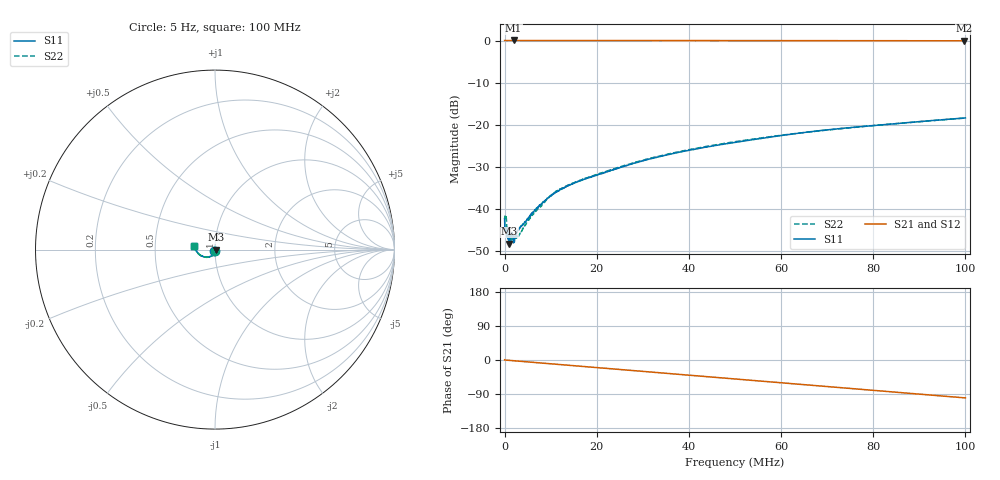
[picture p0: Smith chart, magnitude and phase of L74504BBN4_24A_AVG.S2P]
!Agilent Technologies,E5061B,MY49102235,A.02.00
!Date: Tue Jul 11 16:44:54 2023
!Data & Calibration Information:
!Freq	S11:SOLT2(ON)	S21:SOLT2(ON)	S12:SOLT2(ON)	S22:SOLT2(ON)
# Hz S RI R 50
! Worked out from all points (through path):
!   1600 points, 5 Hz to 100 MHz, reference 50 ohm
!   highest |S21| = 0.02 dB at 1.939 MHz (marker M1); lowest = -0.1 dB at 99.75 MHz (marker M2)
!   group delay of S21, straight-line fit = 2.78 ns
!   lowest |S11| = -48.2 dB at 1.001 MHz (marker M3), VSWR 1.01, Z = 50.4 - j0.0819 ohm
!   |S11| at or under -10 dB: start of sweep to end of sweep
!   |S22| runs from -48.8 to -18.4 dB; largest |S21 - S12| = 0.0028
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5  -0.00518 -0.00564  1.002 0.00789  1.001 0.0103  -0.00146 -0.00756
437778.6  0.00513 -0.000606  1.001 -0.00554  1.001 -0.00596  0.0066 -0.00224
625395.8  0.00511 -0.000645  1.002 -0.0106  1.002 -0.00998  0.0061 -0.00101
1000630  0.00379 -0.000813  1.001 -0.0165  1.001 -0.0157  0.00516 -0.00173
1563482  0.00437 -0.00297  1.001 -0.0265  1.001 -0.0251  0.00316 -0.00354
1938717  0.00313 -0.00241  1.002 -0.0338  1.001 -0.0328  0.00343 -0.00217
2376490  0.00332 -0.00309  1 -0.0415  1 -0.0413  0.00397 -0.00277
3252037  0.00424 -0.00433  0.9996 -0.0568  0.9991 -0.0563  0.00317 -0.00384
4690436  0.00372 -0.00618  0.9978 -0.0819  0.9974 -0.0815  0.00346 -0.00585
6003757  0.00329 -0.00813  0.9956 -0.1047  0.9954 -0.1041  0.0029 -0.00799
9505946  0.00138 -0.0135  0.9873 -0.1657  0.9872 -0.165  0.000854 -0.0135
1.163227e7  -0.000189 -0.0165  0.9805 -0.2021  0.9801 -0.2014  -0.00102 -0.0166
1.669794e7  -0.00414 -0.0216  0.9582 -0.2878  0.958 -0.2871  -0.00443 -0.0218
2.582865e7  -0.0117 -0.0297  0.9005 -0.4363  0.9002 -0.4357  -0.00961 -0.0311
3.333334e7  -0.0209 -0.036  0.8352 -0.5501  0.8351 -0.5494  -0.0195 -0.0373
4.033771e7  -0.0307 -0.0399  0.7615 -0.6475  0.7615 -0.6468  -0.0302 -0.0412
5.003127e7  -0.0456 -0.0416  0.6412 -0.7664  0.6412 -0.7657  -0.0458 -0.043
6.672921e7  -0.0755 -0.0351  0.393 -0.9168  0.3934 -0.9165  -0.0748 -0.0355
8.33646e7  -0.1007 -0.0125  0.1142 -0.9893  0.1144 -0.989  -0.1003 -0.0145
9.155722e7  -0.1108 0.00306  -0.0281 -0.9942  -0.0277 -0.9941  -0.1107 -0.000231
9.974984e7  -0.1185 0.0205  -0.1692 -0.9789  -0.1686 -0.9789  -0.1184 0.0173
1e8  -0.1187 0.021  -0.1735 -0.9783  -0.173 -0.9782  -0.1188 0.018
